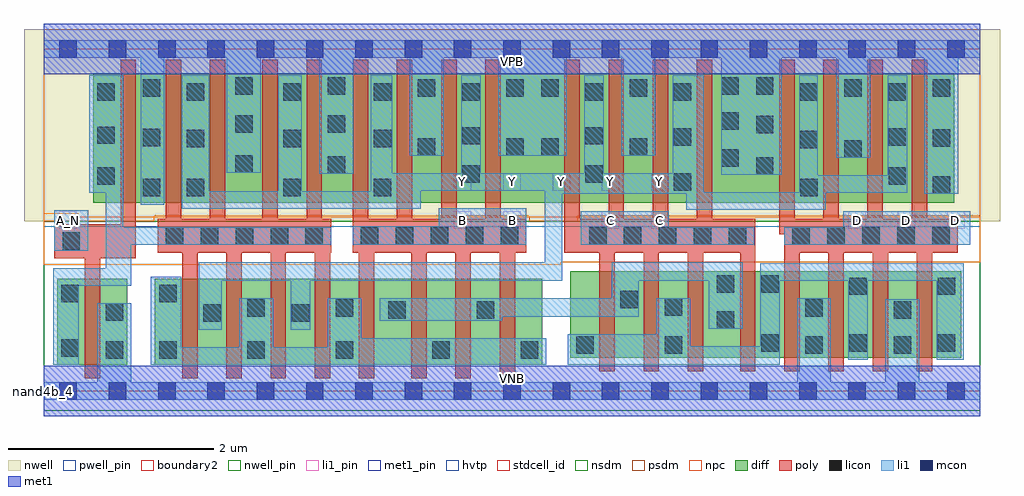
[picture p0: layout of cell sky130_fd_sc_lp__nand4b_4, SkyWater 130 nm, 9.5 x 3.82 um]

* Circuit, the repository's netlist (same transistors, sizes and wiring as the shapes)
* Copyright 2020 The SkyWater PDK Authors
*
* Licensed under the Apache License, Version 2.0 (the "License");
* you may not use this file except in compliance with the License.
* You may obtain a copy of the License at
*
*     https://www.apache.org/licenses/LICENSE-2.0
*
* Unless required by applicable law or agreed to in writing, software
* distributed under the License is distributed on an "AS IS" BASIS,
* WITHOUT WARRANTIES OR CONDITIONS OF ANY KIND, either express or implied.
* See the License for the specific language governing permissions and
* limitations under the License.
*
* SPDX-License-Identifier: Apache-2.0

.SUBCKT sky130_fd_sc_lp__nand4b_4 A_N B C D VGND VNB VPB VPWR Y
*.PININFO A_N:I B:I C:I D:I VGND:I VNB:I VPB:I VPWR:I Y:O
MMP0 Y A VPWR VPB sky130_fd_pr__pfet_01v8_hvt m=4 w=1.26U l=0.15U mult=1 sa=0.265
+ sb=0.265 sd=0.28 area=0.063 perim=1.14
MMP1 Y B VPWR VPB sky130_fd_pr__pfet_01v8_hvt m=4 w=1.26U l=0.15U mult=1 sa=0.265
+ sb=0.265 sd=0.28 area=0.063 perim=1.14
MMP2 Y C VPWR VPB sky130_fd_pr__pfet_01v8_hvt m=4 w=1.26U l=0.15U mult=1 sa=0.265
+ sb=0.265 sd=0.28 area=0.063 perim=1.14
MMP3 Y D VPWR VPB sky130_fd_pr__pfet_01v8_hvt m=4 w=1.26U l=0.15U mult=1 sa=0.265
+ sb=0.265 sd=0.28 area=0.063 perim=1.14
MMIP0 A A_N VPWR VPB sky130_fd_pr__pfet_01v8_hvt m=1 w=1.26U l=0.15U mult=1 sa=0.265
+ sb=0.265 sd=0.28 area=0.063 perim=1.14
MMN0 Y A sndA VNB sky130_fd_pr__nfet_01v8 m=4 w=0.84U l=0.15U mult=1 sa=0.265 sb=0.265
+ sd=0.28 area=0.063 perim=1.14
MMN1 sndA B sndB VNB sky130_fd_pr__nfet_01v8 m=4 w=0.84U l=0.15U mult=1 sa=0.265
+ sb=0.265 sd=0.28 area=0.063 perim=1.14
MMN2 sndB C sndC VNB sky130_fd_pr__nfet_01v8 m=4 w=0.84U l=0.15U mult=1 sa=0.265
+ sb=0.265 sd=0.28 area=0.063 perim=1.14
MMN3 sndC D VGND VNB sky130_fd_pr__nfet_01v8 m=4 w=0.84U l=0.15U mult=1 sa=0.265
+ sb=0.265 sd=0.28 area=0.063 perim=1.14
MMIN0 A A_N VGND VNB sky130_fd_pr__nfet_01v8 m=1 w=0.84U l=0.15U mult=1 sa=0.265
+ sb=0.265 sd=0.28 area=0.063 perim=1.14
.ENDS sky130_fd_sc_lp__nand4b_4

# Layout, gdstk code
import gdstk
lib = gdstk.Library(unit=1e-6, precision=1e-09)
def R(c, l, rs):  # rectangles x0, y0, x1, y1
    for r in rs: c.add(gdstk.rectangle(r[:2], r[2:], *l))
def A(c, l, x, y, w, h, nx, ny, dx, dy):  # array of equal rectangles
    R(c, l, [(x+i*dx, y+j*dy, x+i*dx+w, y+j*dy+h) for i in range(nx) for j in range(ny)])
def P(c, l, *ps):  # polygons
    for p in ps: c.add(gdstk.Polygon(p, *l))
nwell_pin = (64, 16)
nwell = (64, 20)
diff = (65, 20)
poly = (66, 20)
licon = (66, 44)
li1_pin = (67, 16)
li1 = (67, 20)
mcon = (67, 44)
met1_pin = (68, 16)
met1 = (68, 20)
hvtp = (78, 44)
stdcell_id = (81, 4)
nsdm = (93, 44)
psdm = (94, 20)
npc = (95, 20)
pwell_pin = (122, 16)
boundary2 = (236, 0)

sky130_fd_sc_lp__nand4b_ = lib.new_cell('sky130_fd_sc_lp__nand4b_4')
R(sky130_fd_sc_lp__nand4b_, nwell_pin, [(0,3.085,9.12,3.33)])
R(sky130_fd_sc_lp__nand4b_, nwell, [(-0.19,1.655,9.31,3.52)])
R(sky130_fd_sc_lp__nand4b_, diff, [(0.135,0.255,0.815,1.095), (1.085,0.255,4.855,1.095), (5.125,0.325,8.935,1.165), (0.485,1.835,8.865,3.095)])
R(sky130_fd_sc_lp__nand4b_, poly, [(4.525,1.345,4.7,1.675)])
P(sky130_fd_sc_lp__nand4b_, poly, [(0.9,3.225),(0.75,3.225),(0.75,1.625),(0.105,1.625),(0.105,1.295),(0.4,1.295),(0.4,0.125),(0.55,0.125),(0.55,1.295),(0.9,1.295)],
  [(2.8,1.675),(2.71,1.675),(2.71,3.225),(2.56,3.225),(2.56,1.675),(2.28,1.675),(2.28,3.225),(2.13,3.225),(2.13,1.675),(1.77,1.675),(1.77,3.225),(1.62,3.225),(1.62,1.675),(1.34,1.675),(1.34,3.225),(1.19,3.225),(1.19,1.675),(1.11,1.675),(1.11,1.345),(1.35,1.345),(1.35,0.125),(1.5,0.125),(1.5,1.345),(1.78,1.345),(1.78,0.125),(1.93,0.125),(1.93,1.345),(2.21,1.345),(2.21,0.125),(2.36,0.125),(2.36,1.345),(2.64,1.345),(2.64,0.125),(2.79,0.125),(2.79,1.345),(2.8,1.345)],
  [(4.45,3.225),(4.3,3.225),(4.3,1.675),(4.02,1.675),(4.02,3.225),(3.87,3.225),(3.87,1.675),(3.59,1.675),(3.59,3.225),(3.44,3.225),(3.44,1.675),(3.16,1.675),(3.16,3.225),(3.01,3.225),(3.01,1.345),(3.07,1.345),(3.07,0.125),(3.22,0.125),(3.22,1.345),(3.58,1.345),(3.58,0.125),(3.73,0.125),(3.73,1.345),(4.01,1.345),(4.01,0.125),(4.16,0.125),(4.16,1.345),(4.44,1.345),(4.44,0.125),(4.59,0.125),(4.59,1.675),(4.45,1.675)],
  [(6.93,1.675),(6.51,1.675),(6.51,3.225),(6.36,3.225),(6.36,1.675),(6.08,1.675),(6.08,3.225),(5.93,3.225),(5.93,1.675),(5.65,1.675),(5.65,3.225),(5.5,3.225),(5.5,1.675),(5.22,1.675),(5.22,3.225),(5.07,3.225),(5.07,1.345),(5.41,1.345),(5.41,0.195),(5.56,0.195),(5.56,1.345),(5.84,1.345),(5.84,0.195),(5.99,0.195),(5.99,1.345),(6.27,1.345),(6.27,0.195),(6.42,0.195),(6.42,1.345),(6.78,1.345),(6.78,0.195),(6.93,0.195)],
  [(8.9,1.675),(8.6,1.675),(8.6,3.225),(8.45,3.225),(8.45,1.675),(8.17,1.675),(8.17,3.225),(8.02,3.225),(8.02,1.675),(7.74,1.675),(7.74,3.225),(7.59,3.225),(7.59,1.675),(7.31,1.675),(7.31,3.225),(7.16,3.225),(7.16,1.525),(7.21,1.525),(7.21,0.195),(7.36,0.195),(7.36,1.345),(7.64,1.345),(7.64,0.195),(7.79,0.195),(7.79,1.345),(8.07,1.345),(8.07,0.195),(8.22,0.195),(8.22,1.345),(8.5,1.345),(8.5,0.195),(8.65,0.195),(8.65,1.345),(8.9,1.345)])
A(sky130_fd_sc_lp__nand4b_, licon, 1.125, 0.315, 0.17, 0.17, 3, 1, 0.86, 0)
A(sky130_fd_sc_lp__nand4b_, licon, 6.985, 0.385, 0.17, 0.17, 3, 1, 0.86, 0)
A(sky130_fd_sc_lp__nand4b_, licon, 1.19, 1.425, 0.17, 0.17, 5, 1, 0.34, 0)
A(sky130_fd_sc_lp__nand4b_, licon, 3.09, 1.425, 0.17, 0.17, 5, 1, 0.34, 0)
A(sky130_fd_sc_lp__nand4b_, licon, 5.31, 1.425, 0.17, 0.17, 5, 1, 0.34, 0)
A(sky130_fd_sc_lp__nand4b_, licon, 7.29, 1.425, 0.17, 0.17, 5, 1, 0.34, 0)
R(sky130_fd_sc_lp__nand4b_, licon, [(0.605,0.315,0.775,0.485), (3.785,0.315,3.955,0.485), (4.645,0.315,4.815,0.485), (0.175,0.335,0.345,0.505), (5.185,0.365,5.355,0.535), (6.045,0.365,6.215,0.535), (7.415,0.365,7.585,0.535), (8.275,0.365,8.445,0.535), (6.555,0.605,6.725,0.775), (1.555,0.675,1.725,0.845), (2.415,0.675,2.585,0.845), (0.605,0.685,0.775,0.855), (3.355,0.705,3.525,0.875), (4.215,0.705,4.385,0.875), (8.275,0.705,8.445,0.875), (1.985,0.725,2.155,0.895), (2.845,0.725,3.015,0.895), (7.415,0.725,7.585,0.895), (6.045,0.735,6.215,0.905), (5.615,0.805,5.785,0.975), (0.175,0.865,0.345,1.035), (1.125,0.865,1.295,1.035), (7.845,0.935,8.015,1.105), (8.705,0.935,8.875,1.105), (6.555,0.955,6.725,1.125), (6.985,0.955,7.155,1.125), (0.185,1.375,0.355,1.545), (0.965,1.895,1.135,2.065), (1.395,1.895,1.565,2.065), (2.335,1.895,2.505,2.065), (3.215,1.895,3.385,2.065), (7.365,1.895,7.535,2.065), (8.655,1.92,8.825,2.09), (6.135,1.95,6.305,2.12), (0.525,2.01,0.695,2.18), (8.225,2.01,8.395,2.18), (4.075,2.03,4.245,2.2), (5.275,2.03,5.445,2.2), (6.935,2.105,7.105,2.275), (2.765,2.115,2.935,2.285), (1.865,2.125,2.035,2.295), (6.595,2.185,6.765,2.355), (7.795,2.27,7.965,2.44), (3.645,2.29,3.815,2.46), (4.505,2.29,4.675,2.46), (4.845,2.29,5.015,2.46), (5.705,2.29,5.875,2.46), (7.365,2.365,7.535,2.535), (1.395,2.375,1.565,2.545), (2.335,2.375,2.505,2.545), (3.215,2.375,3.385,2.545), (8.655,2.38,8.825,2.55), (0.965,2.385,1.135,2.555), (6.135,2.39,6.305,2.56), (8.225,2.39,8.395,2.56), (4.075,2.4,4.245,2.57), (5.275,2.4,5.445,2.57), (0.525,2.405,0.695,2.575), (6.935,2.51,7.105,2.68), (1.865,2.515,2.035,2.685), (2.765,2.515,2.935,2.685), (6.595,2.545,6.765,2.715), (0.525,2.825,0.695,2.995), (1.395,2.825,1.565,2.995), (2.335,2.825,2.505,2.995), (3.215,2.825,3.385,2.995), (4.075,2.825,4.245,2.995), (5.275,2.825,5.445,2.995), (6.135,2.825,6.305,2.995), (7.365,2.825,7.535,2.995), (8.225,2.825,8.395,2.995), (0.965,2.865,1.135,3.035), (3.645,2.865,3.815,3.035), (4.505,2.865,4.675,3.035), (4.845,2.865,5.015,3.035), (5.705,2.865,5.875,3.035), (7.795,2.865,7.965,3.035), (8.655,2.865,8.825,3.035), (1.865,2.885,2.035,3.055), (2.765,2.885,2.935,3.055), (6.595,2.885,6.765,3.055), (6.935,2.885,7.105,3.055)])
A(sky130_fd_sc_lp__nand4b_, li1_pin, 7.835, 1.58, 0.17, 0.17, 3, 1, 0.48, 0)
A(sky130_fd_sc_lp__nand4b_, li1_pin, 3.995, 1.95, 0.17, 0.17, 5, 1, 0.48, 0)
R(sky130_fd_sc_lp__nand4b_, li1_pin, [(0.155,1.58,0.325,1.75), (3.995,1.58,4.165,1.75), (4.475,1.58,4.645,1.75), (5.435,1.58,5.605,1.75), (5.915,1.58,6.085,1.75)])
R(sky130_fd_sc_lp__nand4b_, li1, [(0.105,1.365,0.435,1.76)])
P(sky130_fd_sc_lp__nand4b_, li1, [(1.785,2.125),(1.785,3.245),(1.175,3.245),(1.175,1.815),(0.945,1.815),(0.945,3.245),(0,3.245),(0,3.415),(9.12,3.415),(9.12,3.245),(8.905,3.245),(8.905,1.92),(8.575,1.92),(8.575,3.245),(8.045,3.245),(8.045,2.27),(7.715,2.27),(7.715,3.245),(7.185,3.245),(7.185,2.105),(6.595,2.105),(6.595,3.245),(5.955,3.245),(5.955,2.29),(5.625,2.29),(5.625,3.245),(5.095,3.245),(5.095,2.29),(4.425,2.29),(4.425,3.245),(3.895,3.245),(3.895,2.29),(3.565,2.29),(3.565,3.245),(3.015,3.245),(3.015,2.115),(2.685,2.115),(2.685,3.245),(2.115,3.245),(2.115,2.125)],
  [(7.335,0.085),(7.335,0.905),(7.665,0.905),(7.665,0.085),(8.195,0.085),(8.195,0.895),(8.525,0.895),(8.525,0.085),(9.12,0.085),(9.12,-0.085),(0,-0.085),(0,0.085),(0.525,0.085),(0.525,0.855),(0.855,0.855),(0.855,0.085)],
  [(2.8,1.595),(2.8,1.425),(0.855,1.425),(0.855,1.025),(0.345,1.025),(0.345,0.255),(0.095,0.255),(0.095,1.195),(0.605,1.195),(0.605,1.93),(0.445,1.93),(0.445,3.075),(0.775,3.075),(0.775,1.595)],
  [(3.845,1.605),(3.845,1.78),(4.7,1.78),(4.7,1.425),(3.01,1.425),(3.01,1.605)],
  [(6.085,1.75),(6.085,1.595),(6.92,1.595),(6.92,1.425),(5.23,1.425),(5.23,1.75)],
  [(7.785,1.595),(7.785,1.75),(9.02,1.75),(9.02,1.425),(7.21,1.425),(7.21,1.595)],
  [(8.405,3.075),(8.215,3.075),(8.215,2.1),(7.535,2.1),(7.535,3.075),(7.355,3.075),(7.355,1.935),(6.425,1.935),(6.425,3.075),(6.125,3.075),(6.125,2.12),(5.455,2.12),(5.455,3.075),(5.265,3.075),(5.265,2.12),(4.255,2.12),(4.255,3.075),(4.065,3.075),(4.065,2.12),(3.395,2.12),(3.395,3.075),(3.185,3.075),(3.185,1.945),(2.515,1.945),(2.515,3.075),(2.285,3.075),(2.285,1.945),(1.615,1.945),(1.615,3.075),(1.345,3.075),(1.345,1.775),(3.67,1.775),(3.67,1.95),(4.88,1.95),(4.88,1.255),(1.51,1.255),(1.51,0.595),(1.735,0.595),(1.735,1.075),(2.405,1.075),(2.405,0.595),(2.595,0.595),(2.595,1.075),(5.05,1.075),(5.05,1.92),(6.255,1.92),(6.255,1.765),(7.615,1.765),(7.615,1.93),(8.405,1.93)],
  [(8.695,1.075),(8.025,1.075),(8.025,0.305),(7.835,0.305),(7.835,1.075),(7.165,1.075),(7.165,0.255),(5.105,0.255),(5.105,0.555),(5.965,0.555),(5.965,0.905),(6.295,0.905),(6.295,0.435),(6.975,0.435),(6.975,1.245),(8.955,1.245),(8.955,0.305),(8.695,0.305)],
  [(6.475,1.075),(5.795,1.075),(5.795,0.725),(4.465,0.725),(4.465,0.685),(3.275,0.685),(3.275,0.905),(5.53,0.905),(5.53,1.255),(6.805,1.255),(6.805,0.605),(6.475,0.605)],
  [(3.095,0.515),(4.895,0.515),(4.895,0.255),(1.045,0.255),(1.045,1.115),(1.34,1.115),(1.34,0.425),(1.905,0.425),(1.905,0.905),(2.235,0.905),(2.235,0.425),(2.765,0.425),(2.765,0.905),(3.095,0.905)])
A(sky130_fd_sc_lp__nand4b_, mcon, 0.155, -0.085, 0.17, 0.17, 19, 2, 0.48, 3.33)
R(sky130_fd_sc_lp__nand4b_, met1_pin, [(0,0,9.12,0.245), (0,3.085,9.12,3.33)])
R(sky130_fd_sc_lp__nand4b_, met1, [(0,-0.245,9.12,0.245), (0,3.085,9.12,3.575)])
R(sky130_fd_sc_lp__nand4b_, hvtp, [(0,1.6,9.12,3.33)])
R(sky130_fd_sc_lp__nand4b_, stdcell_id, [(0,0,9.12,3.33)])
R(sky130_fd_sc_lp__nand4b_, nsdm, [(0,-0.19,9.12,1.655)])
P(sky130_fd_sc_lp__nand4b_, psdm, [(9.12,3.52),(0,3.52),(0,1.655),(1.08,1.655),(1.08,1.705),(4.73,1.705),(4.73,1.655),(5.2,1.655),(5.2,1.705),(9.12,1.705)])
P(sky130_fd_sc_lp__nand4b_, npc, [(9.12,1.695),(0.345,1.695),(0.345,1.73),(0,1.73),(0,1.23),(5.035,1.23),(5.035,1.255),(9.12,1.255)])
R(sky130_fd_sc_lp__nand4b_, pwell_pin, [(0,0,9.12,0.245)])
R(sky130_fd_sc_lp__nand4b_, boundary2, [(0,0,9.12,3.33)])
sky130_fd_sc_lp__nand4b_.add(gdstk.Label('VNB', (4.56,0.123), layer=64, texttype=59))
sky130_fd_sc_lp__nand4b_.add(gdstk.Label('VPB', (4.56,3.208), layer=64, texttype=5))
sky130_fd_sc_lp__nand4b_.add(gdstk.Label('nand4b_4', (0,0), layer=83, texttype=44))
sky130_fd_sc_lp__nand4b_.add(gdstk.Label('VPWR', (4.56,3.208), layer=68, texttype=5))
sky130_fd_sc_lp__nand4b_.add(gdstk.Label('VGND', (4.56,0.123), layer=68, texttype=5))
sky130_fd_sc_lp__nand4b_.add(gdstk.Label('B', (4.08,1.665), layer=67, texttype=5))
sky130_fd_sc_lp__nand4b_.add(gdstk.Label('B', (4.56,1.665), layer=67, texttype=5))
sky130_fd_sc_lp__nand4b_.add(gdstk.Label('C', (5.52,1.665), layer=67, texttype=5))
sky130_fd_sc_lp__nand4b_.add(gdstk.Label('C', (6,1.665), layer=67, texttype=5))
sky130_fd_sc_lp__nand4b_.add(gdstk.Label('D', (7.92,1.665), layer=67, texttype=5))
sky130_fd_sc_lp__nand4b_.add(gdstk.Label('D', (8.4,1.665), layer=67, texttype=5))
sky130_fd_sc_lp__nand4b_.add(gdstk.Label('D', (8.88,1.665), layer=67, texttype=5))
sky130_fd_sc_lp__nand4b_.add(gdstk.Label('A_N', (0.24,1.665), layer=67, texttype=5))
sky130_fd_sc_lp__nand4b_.add(gdstk.Label('Y', (4.08,2.035), layer=67, texttype=5))
sky130_fd_sc_lp__nand4b_.add(gdstk.Label('Y', (4.56,2.035), layer=67, texttype=5))
sky130_fd_sc_lp__nand4b_.add(gdstk.Label('Y', (5.04,2.035), layer=67, texttype=5))
sky130_fd_sc_lp__nand4b_.add(gdstk.Label('Y', (5.52,2.035), layer=67, texttype=5))
sky130_fd_sc_lp__nand4b_.add(gdstk.Label('Y', (6,2.035), layer=67, texttype=5))

lib.write_gds('sky130_fd_sc_lp__nand4b_4.gds')
